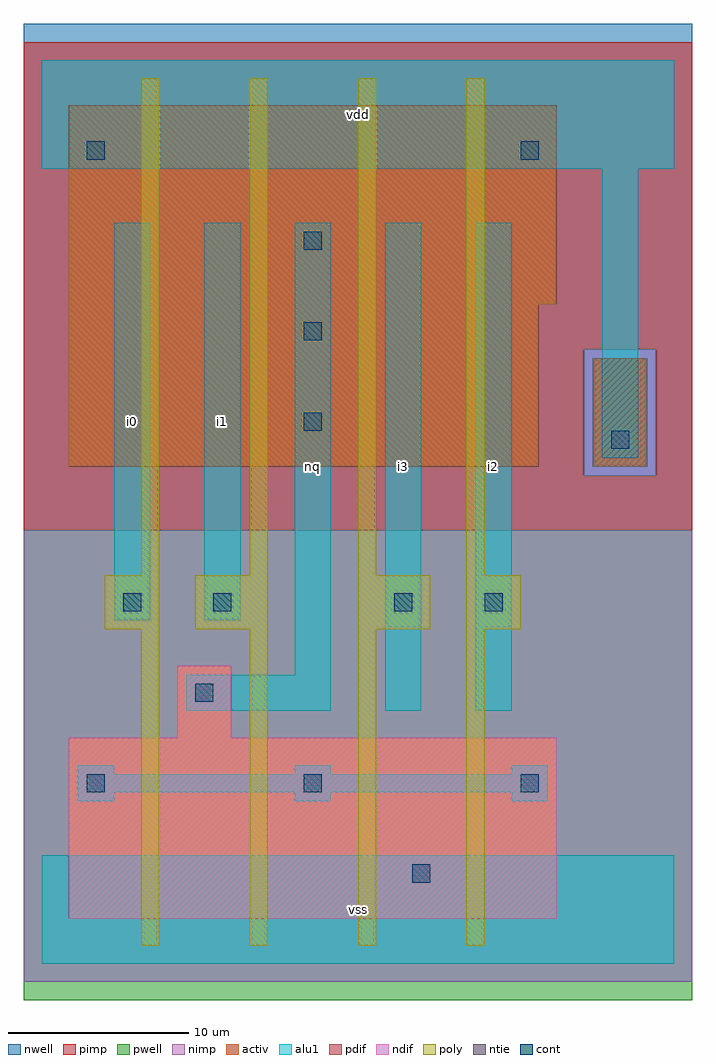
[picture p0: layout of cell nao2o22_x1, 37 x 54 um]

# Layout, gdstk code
import gdstk
lib = gdstk.Library(unit=1e-6, precision=1e-09)
def R(c, l, rs):  # rectangles x0, y0, x1, y1
    for r in rs: c.add(gdstk.rectangle(r[:2], r[2:], *l))
def A(c, l, x, y, w, h, nx, ny, dx, dy):  # array of equal rectangles
    R(c, l, [(x+i*dx, y+j*dy, x+i*dx+w, y+j*dy+h) for i in range(nx) for j in range(ny)])
ndif = (3, 0)
pdif = (4, 0)
ntie = (5, 0)
cont = (25, 0)
pwell = (41, 0)
nwell = (42, 0)
activ = (43, 0)
pimp = (44, 0)
nimp = (45, 0)
poly = (46, 0)
alu1 = (49, 0)

nao2o22_x1 = lib.new_cell('nao2o22_x1')
R(nao2o22_x1, ndif, [(1.5,2.5,28.5,12.5), (7.5,12.5,10.5,16.5)])
R(nao2o22_x1, pdif, [(1.5,27.5,27.5,36.5), (1.5,36.5,28.5,47.5)])
R(nao2o22_x1, ntie, [(30.5,27.5,33.5,33.5)])
A(nao2o22_x1, cont, 2.5, 9.5, 1, 1, 3, 1, 12, 0)
A(nao2o22_x1, cont, 14.5, 29.5, 1, 1, 1, 3, 0, 5)
R(nao2o22_x1, cont, [(20.5,4.5,21.5,5.5), (8.5,14.5,9.5,15.5), (4.5,19.5,5.5,20.5), (9.5,19.5,10.5,20.5), (19.5,19.5,20.5,20.5), (24.5,19.5,25.5,20.5), (31.5,28.5,32.5,29.5), (2.5,44.5,3.5,45.5), (26.5,44.5,27.5,45.5)])
R(nao2o22_x1, pwell, [(-1,-2,36,24)])
R(nao2o22_x1, nwell, [(-1,24,36,52)])
R(nao2o22_x1, activ, [(1.5,2.5,28.5,12.5), (7.5,12.5,10.5,16.5), (1.5,27.5,27.5,36.5), (30.5,27.5,33.5,33.5), (1.5,36.5,28.5,47.5)])
R(nao2o22_x1, pimp, [(-1,24,36,27), (-1,27,30,34), (34,27,36,34), (-1,34,36,51)])
R(nao2o22_x1, nimp, [(-1,-1,36,24), (30,27,34,34)])
A(nao2o22_x1, poly, 5.5, 1, 1, 17.5, 4, 1, 6, 0)
A(nao2o22_x1, poly, 5.5, 21.5, 1, 27.5, 4, 1, 6, 0)
R(nao2o22_x1, poly, [(3.5,18.5,6.5,21.5), (8.5,18.5,12.5,21.5), (17.5,18.5,21.5,21.5), (23.5,18.5,26.5,21.5)])
A(nao2o22_x1, alu1, 2, 9, 2, 0.5, 3, 2, 12, 1.5)
R(nao2o22_x1, alu1, [(0,0,35,6), (2,9.5,28,10.5), (8,14,16,16), (19,14,21,41), (24,14,26,41), (14,16,16,41), (4,19,6,41), (9,19,11,41), (31,28,33,44), (0,44,35,50)])
nao2o22_x1.add(gdstk.Label('i0', (5,30), layer=49, texttype=0))
nao2o22_x1.add(gdstk.Label('nq', (15,27.5), layer=49, texttype=0))
nao2o22_x1.add(gdstk.Label('i1', (10,30), layer=49, texttype=0))
nao2o22_x1.add(gdstk.Label('vss', (17.5,3), layer=49, texttype=0))
nao2o22_x1.add(gdstk.Label('i2', (25,27.5), layer=49, texttype=0))
nao2o22_x1.add(gdstk.Label('i3', (20,27.5), layer=49, texttype=0))
nao2o22_x1.add(gdstk.Label('vdd', (17.5,47), layer=49, texttype=0))

lib.write_gds('nao2o22_x1.gds')
